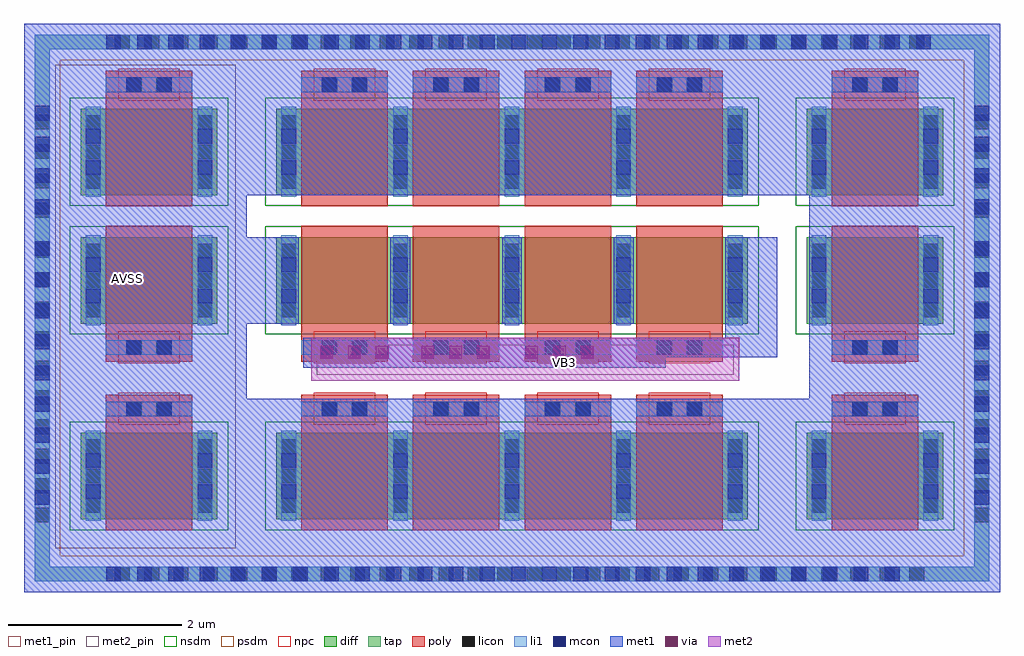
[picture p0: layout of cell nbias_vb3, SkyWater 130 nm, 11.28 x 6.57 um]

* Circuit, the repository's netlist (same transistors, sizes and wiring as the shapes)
** sch_path: /home/lci-ufsc/Desktop/work_sky130/INA_layout_v2/bias/nbias_vb3.sch
.subckt nbias_vb3 AVSS VB3
*.PININFO AVSS:B VB3:B
x1 AVSS AVSS VB3 net1 nfet_2series
x2 net1 AVSS VB3 VB3 nfet_2series
XM1[14] AVSS AVSS AVSS AVSS sky130_fd_pr__nfet_01v8 L=1 W=1 nf=1 m=1
XM1[13] AVSS AVSS AVSS AVSS sky130_fd_pr__nfet_01v8 L=1 W=1 nf=1 m=1
XM1[12] AVSS AVSS AVSS AVSS sky130_fd_pr__nfet_01v8 L=1 W=1 nf=1 m=1
XM1[11] AVSS AVSS AVSS AVSS sky130_fd_pr__nfet_01v8 L=1 W=1 nf=1 m=1
XM1[10] AVSS AVSS AVSS AVSS sky130_fd_pr__nfet_01v8 L=1 W=1 nf=1 m=1
XM1[9] AVSS AVSS AVSS AVSS sky130_fd_pr__nfet_01v8 L=1 W=1 nf=1 m=1
XM1[8] AVSS AVSS AVSS AVSS sky130_fd_pr__nfet_01v8 L=1 W=1 nf=1 m=1
XM1[7] AVSS AVSS AVSS AVSS sky130_fd_pr__nfet_01v8 L=1 W=1 nf=1 m=1
XM1[6] AVSS AVSS AVSS AVSS sky130_fd_pr__nfet_01v8 L=1 W=1 nf=1 m=1
XM1[5] AVSS AVSS AVSS AVSS sky130_fd_pr__nfet_01v8 L=1 W=1 nf=1 m=1
XM1[4] AVSS AVSS AVSS AVSS sky130_fd_pr__nfet_01v8 L=1 W=1 nf=1 m=1
XM1[3] AVSS AVSS AVSS AVSS sky130_fd_pr__nfet_01v8 L=1 W=1 nf=1 m=1
XM1[2] AVSS AVSS AVSS AVSS sky130_fd_pr__nfet_01v8 L=1 W=1 nf=1 m=1
XM1[1] AVSS AVSS AVSS AVSS sky130_fd_pr__nfet_01v8 L=1 W=1 nf=1 m=1
.ends

* expanding   symbol:  INA_layout_v2/bias/nfet_2series.sym # of pins=4
** sym_path: /home/lci-ufsc/Desktop/work_sky130/INA_layout_v2/bias/nfet_2series.sym
** sch_path: /home/lci-ufsc/Desktop/work_sky130/INA_layout_v2/bias/nfet_2series.sch
.subckt nfet_2series S B G D
*.PININFO S:B B:B G:B D:B
XM1 D G net1 B sky130_fd_pr__nfet_01v8 L=1 W=1 nf=1 m=1
XM2 net1 G S B sky130_fd_pr__nfet_01v8 L=1 W=1 nf=1 m=1
.ends

.end

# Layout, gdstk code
import gdstk
lib = gdstk.Library(unit=1e-6, precision=1e-09)
def R(c, l, rs):  # rectangles x0, y0, x1, y1
    for r in rs: c.add(gdstk.rectangle(r[:2], r[2:], *l))
def A(c, l, x, y, w, h, nx, ny, dx, dy):  # array of equal rectangles
    R(c, l, [(x+i*dx, y+j*dy, x+i*dx+w, y+j*dy+h) for i in range(nx) for j in range(ny)])
diff = (65, 20)
tap = (65, 44)
poly = (66, 20)
licon = (66, 44)
li1 = (67, 20)
mcon = (67, 44)
met1_pin = (68, 16)
met1 = (68, 20)
via = (68, 44)
met2_pin = (69, 16)
met2 = (69, 20)
nsdm = (93, 44)
psdm = (94, 20)
npc = (95, 20)

nbias_vb3 = lib.new_cell('nbias_vb3')
A(nbias_vb3, diff, 8.157, -2.922, 1.58, 1, 4, 2, 1.29, 3.745)
R(nbias_vb3, diff, [(5.898,-2.922,7.478,-1.922), (14.286,-2.922,15.866,-1.922), (5.898,-0.662,7.478,0.338), (5.898,-0.662,7.478,0.338), (8.157,-0.662,9.737,0.338), (8.157,-0.662,9.737,0.338), (9.447,-0.662,11.027,0.338), (9.447,-0.662,11.027,0.338), (10.737,-0.662,12.317,0.338), (10.737,-0.662,12.317,0.338), (12.027,-0.662,13.607,0.338), (12.027,-0.662,13.607,0.338), (14.286,-0.662,15.866,0.338), (14.286,-0.662,15.866,0.338), (5.898,0.823,7.478,1.823), (14.286,0.823,15.866,1.823)])
R(nbias_vb3, tap, [(5.368,-3.639,5.538,2.678), (5.368,-3.639,5.537,2.678), (5.368,-3.639,16.396,-3.469), (16.226,-3.639,16.396,2.678), (16.227,-3.639,16.396,2.678), (5.368,2.508,16.396,2.678)])
A(nbias_vb3, poly, 8.447, -3.052, 1, 1.57, 4, 2, 1.29, 3.745)
R(nbias_vb3, poly, [(6.188,-3.052,7.188,-1.482), (14.576,-3.052,15.576,-1.482), (6.188,-1.102,7.188,0.468), (6.188,-1.102,7.188,0.468), (8.447,-1.102,9.447,0.468), (8.447,-1.102,9.447,0.468), (9.737,-1.102,10.737,0.468), (9.737,-1.102,10.737,0.468), (11.027,-1.102,12.027,0.468), (11.027,-1.102,12.027,0.468), (12.317,-1.102,13.317,0.468), (12.317,-1.102,13.317,0.468), (14.576,-1.102,15.576,0.468), (14.576,-1.102,15.576,0.468), (6.188,0.693,7.188,2.263), (14.576,0.693,15.576,2.263)])
A(nbias_vb3, licon, 6.293, -3.639, 0.17, 0.17, 28, 2, 0.34, 6.147)
A(nbias_vb3, licon, 5.368, -2.959, 0.17, 0.17, 1, 10, 0, 0.34)
A(nbias_vb3, licon, 16.226, -2.959, 0.17, 0.17, 1, 10, 0, 0.34)
A(nbias_vb3, licon, 5.958, -2.847, 0.17, 0.17, 1, 3, 0, 0.34)
A(nbias_vb3, licon, 8.217, -2.847, 0.17, 0.17, 1, 3, 0, 0.34)
A(nbias_vb3, licon, 13.377, -2.847, 0.17, 0.17, 1, 3, 0, 0.34)
A(nbias_vb3, licon, 15.636, -2.847, 0.17, 0.17, 1, 3, 0, 0.34)
A(nbias_vb3, licon, 5.368, 0.563, 0.17, 0.17, 1, 4, 0, 0.34)
A(nbias_vb3, licon, 16.226, 0.563, 0.17, 0.17, 1, 4, 0, 0.34)
A(nbias_vb3, licon, 5.958, 0.898, 0.17, 0.17, 1, 3, 0, 0.34)
A(nbias_vb3, licon, 8.217, 0.898, 0.17, 0.17, 1, 3, 0, 0.34)
A(nbias_vb3, licon, 13.377, 0.898, 0.17, 0.17, 1, 3, 0, 0.34)
A(nbias_vb3, licon, 15.636, 0.898, 0.17, 0.17, 1, 3, 0, 0.34)
R(nbias_vb3, licon, [(7.248,-2.847,7.418,-2.677), (7.248,-2.847,7.418,-2.677), (9.507,-2.847,9.677,-2.677), (9.507,-2.847,9.677,-2.677), (10.797,-2.847,10.967,-2.677), (10.797,-2.847,10.967,-2.677), (12.087,-2.847,12.257,-2.677), (12.087,-2.847,12.257,-2.677), (14.346,-2.847,14.516,-2.677), (14.346,-2.847,14.516,-2.677), (7.248,-2.507,7.418,-2.337), (7.248,-2.507,7.418,-2.337), (9.507,-2.507,9.677,-2.337), (9.507,-2.507,9.677,-2.337), (10.797,-2.507,10.967,-2.337), (10.797,-2.507,10.967,-2.337), (12.087,-2.507,12.257,-2.337), (12.087,-2.507,12.257,-2.337), (14.346,-2.507,14.516,-2.337), (14.346,-2.507,14.516,-2.337), (7.248,-2.167,7.418,-1.997), (7.248,-2.167,7.418,-1.997), (9.507,-2.167,9.677,-1.997), (9.507,-2.167,9.677,-1.997), (10.797,-2.167,10.967,-1.997), (10.797,-2.167,10.967,-1.997), (12.087,-2.167,12.257,-1.997), (12.087,-2.167,12.257,-1.997), (14.346,-2.167,14.516,-1.997), (14.346,-2.167,14.516,-1.997), (6.433,-1.732,6.603,-1.562), (6.773,-1.732,6.943,-1.562), (8.692,-1.732,8.862,-1.562), (9.032,-1.732,9.202,-1.562), (9.982,-1.732,10.152,-1.562), (10.322,-1.732,10.492,-1.562), (11.272,-1.732,11.442,-1.562), (11.612,-1.732,11.782,-1.562), (12.562,-1.732,12.732,-1.562), (12.902,-1.732,13.072,-1.562), (14.821,-1.732,14.991,-1.562), (15.161,-1.732,15.331,-1.562), (6.433,-1.022,6.603,-0.852), (6.433,-1.022,6.603,-0.852), (6.773,-1.022,6.943,-0.852), (6.773,-1.022,6.943,-0.852), (8.692,-1.022,8.862,-0.852), (8.692,-1.022,8.862,-0.852), (9.032,-1.022,9.202,-0.852), (9.032,-1.022,9.202,-0.852), (9.982,-1.022,10.152,-0.852), (9.982,-1.022,10.152,-0.852), (10.322,-1.022,10.492,-0.852), (10.322,-1.022,10.492,-0.852), (11.272,-1.022,11.442,-0.852), (11.272,-1.022,11.442,-0.852), (11.612,-1.022,11.782,-0.852), (11.612,-1.022,11.782,-0.852), (12.562,-1.022,12.732,-0.852), (12.562,-1.022,12.732,-0.852), (12.902,-1.022,13.072,-0.852), (12.902,-1.022,13.072,-0.852), (14.821,-1.022,14.991,-0.852), (14.821,-1.022,14.991,-0.852), (15.161,-1.022,15.331,-0.852), (15.161,-1.022,15.331,-0.852), (5.958,-0.587,6.128,-0.417), (5.958,-0.587,6.128,-0.417), (7.248,-0.587,7.418,-0.417), (7.248,-0.587,7.418,-0.417), (7.248,-0.587,7.418,-0.417), (7.248,-0.587,7.418,-0.417), (8.217,-0.587,8.387,-0.417), (8.217,-0.587,8.387,-0.417), (9.507,-0.587,9.677,-0.417), (9.507,-0.587,9.677,-0.417), (9.507,-0.587,9.677,-0.417), (9.507,-0.587,9.677,-0.417), (10.797,-0.587,10.967,-0.417), (10.797,-0.587,10.967,-0.417), (10.797,-0.587,10.967,-0.417), (10.797,-0.587,10.967,-0.417), (12.087,-0.587,12.257,-0.417), (12.087,-0.587,12.257,-0.417), (12.087,-0.587,12.257,-0.417), (12.087,-0.587,12.257,-0.417), (13.377,-0.587,13.547,-0.417), (13.377,-0.587,13.547,-0.417), (14.346,-0.587,14.516,-0.417), (14.346,-0.587,14.516,-0.417), (14.346,-0.587,14.516,-0.417), (14.346,-0.587,14.516,-0.417), (15.636,-0.587,15.806,-0.417), (15.636,-0.587,15.806,-0.417), (5.958,-0.247,6.128,-0.077), (5.958,-0.247,6.128,-0.077), (7.248,-0.247,7.418,-0.077), (7.248,-0.247,7.418,-0.077), (7.248,-0.247,7.418,-0.077), (7.248,-0.247,7.418,-0.077), (8.217,-0.247,8.387,-0.077), (8.217,-0.247,8.387,-0.077), (9.507,-0.247,9.677,-0.077), (9.507,-0.247,9.677,-0.077), (9.507,-0.247,9.677,-0.077), (9.507,-0.247,9.677,-0.077), (10.797,-0.247,10.967,-0.077), (10.797,-0.247,10.967,-0.077), (10.797,-0.247,10.967,-0.077), (10.797,-0.247,10.967,-0.077), (12.087,-0.247,12.257,-0.077), (12.087,-0.247,12.257,-0.077), (12.087,-0.247,12.257,-0.077), (12.087,-0.247,12.257,-0.077), (13.377,-0.247,13.547,-0.077), (13.377,-0.247,13.547,-0.077), (14.346,-0.247,14.516,-0.077), (14.346,-0.247,14.516,-0.077), (14.346,-0.247,14.516,-0.077), (14.346,-0.247,14.516,-0.077), (15.636,-0.247,15.806,-0.077), (15.636,-0.247,15.806,-0.077), (5.958,0.093,6.128,0.263), (5.958,0.093,6.128,0.263), (7.248,0.093,7.418,0.263), (7.248,0.093,7.418,0.263), (7.248,0.093,7.418,0.263), (7.248,0.093,7.418,0.263), (8.217,0.093,8.387,0.263), (8.217,0.093,8.387,0.263), (9.507,0.093,9.677,0.263), (9.507,0.093,9.677,0.263), (9.507,0.093,9.677,0.263), (9.507,0.093,9.677,0.263), (10.797,0.093,10.967,0.263), (10.797,0.093,10.967,0.263), (10.797,0.093,10.967,0.263), (10.797,0.093,10.967,0.263), (12.087,0.093,12.257,0.263), (12.087,0.093,12.257,0.263), (12.087,0.093,12.257,0.263), (12.087,0.093,12.257,0.263), (13.377,0.093,13.547,0.263), (13.377,0.093,13.547,0.263), (14.346,0.093,14.516,0.263), (14.346,0.093,14.516,0.263), (14.346,0.093,14.516,0.263), (14.346,0.093,14.516,0.263), (15.636,0.093,15.806,0.263), (15.636,0.093,15.806,0.263), (7.248,0.898,7.418,1.068), (7.248,0.898,7.418,1.068), (9.507,0.898,9.677,1.068), (9.507,0.898,9.677,1.068), (10.797,0.898,10.967,1.068), (10.797,0.898,10.967,1.068), (12.087,0.898,12.257,1.068), (12.087,0.898,12.257,1.068), (14.346,0.898,14.516,1.068), (14.346,0.898,14.516,1.068), (7.248,1.238,7.418,1.408), (7.248,1.238,7.418,1.408), (9.507,1.238,9.677,1.408), (9.507,1.238,9.677,1.408), (10.797,1.238,10.967,1.408), (10.797,1.238,10.967,1.408), (12.087,1.238,12.257,1.408), (12.087,1.238,12.257,1.408), (14.346,1.238,14.516,1.408), (14.346,1.238,14.516,1.408), (7.248,1.578,7.418,1.748), (7.248,1.578,7.418,1.748), (9.507,1.578,9.677,1.748), (9.507,1.578,9.677,1.748), (10.797,1.578,10.967,1.748), (10.797,1.578,10.967,1.748), (12.087,1.578,12.257,1.748), (12.087,1.578,12.257,1.748), (14.346,1.578,14.516,1.748), (14.346,1.578,14.516,1.748), (6.433,2.013,6.603,2.183), (6.773,2.013,6.943,2.183), (8.692,2.013,8.862,2.183), (9.032,2.013,9.202,2.183), (9.982,2.013,10.152,2.183), (10.322,2.013,10.492,2.183), (11.272,2.013,11.442,2.183), (11.612,2.013,11.782,2.183), (12.562,2.013,12.732,2.183), (12.902,2.013,13.072,2.183), (14.821,2.013,14.991,2.183), (15.161,2.013,15.331,2.183)])
A(nbias_vb3, li1, 8.447, -1.732, 1, 0.17, 4, 2, 1.29, 3.745)
R(nbias_vb3, li1, [(5.368,-3.639,5.538,2.678), (5.368,-3.639,16.396,-3.469), (16.226,-3.639,16.396,2.678), (5.958,-2.942,6.128,-1.902), (7.248,-2.942,7.418,-1.902), (7.248,-2.942,7.418,-1.902), (8.217,-2.942,8.387,-1.902), (9.507,-2.942,9.677,-1.902), (9.507,-2.942,9.677,-1.902), (10.797,-2.942,10.967,-1.902), (10.797,-2.942,10.967,-1.902), (12.087,-2.942,12.257,-1.902), (12.087,-2.942,12.257,-1.902), (13.377,-2.942,13.547,-1.902), (14.346,-2.942,14.516,-1.902), (14.346,-2.942,14.516,-1.902), (15.636,-2.942,15.806,-1.902), (6.188,-1.732,7.188,-1.562), (14.576,-1.732,15.576,-1.562), (6.188,-1.022,7.188,-0.852), (6.188,-1.022,7.188,-0.852), (8.447,-1.022,9.447,-0.852), (8.447,-1.022,9.447,-0.852), (9.737,-1.022,10.737,-0.852), (9.737,-1.022,10.737,-0.852), (11.027,-1.022,12.027,-0.852), (11.027,-1.022,12.027,-0.852), (12.317,-1.022,13.317,-0.852), (12.317,-1.022,13.317,-0.852), (14.576,-1.022,15.576,-0.852), (14.576,-1.022,15.576,-0.852), (5.958,-0.682,6.128,0.358), (5.958,-0.682,6.128,0.358), (7.248,-0.682,7.418,0.358), (7.248,-0.682,7.418,0.358), (7.248,-0.682,7.418,0.358), (7.248,-0.682,7.418,0.358), (8.217,-0.682,8.387,0.358), (8.217,-0.682,8.387,0.358), (9.507,-0.682,9.677,0.358), (9.507,-0.682,9.677,0.358), (9.507,-0.682,9.677,0.358), (9.507,-0.682,9.677,0.358), (10.797,-0.682,10.967,0.358), (10.797,-0.682,10.967,0.358), (10.797,-0.682,10.967,0.358), (10.797,-0.682,10.967,0.358), (12.087,-0.682,12.257,0.358), (12.087,-0.682,12.257,0.358), (12.087,-0.682,12.257,0.358), (12.087,-0.682,12.257,0.358), (13.377,-0.682,13.547,0.358), (13.377,-0.682,13.547,0.358), (14.346,-0.682,14.516,0.358), (14.346,-0.682,14.516,0.358), (14.346,-0.682,14.516,0.358), (14.346,-0.682,14.516,0.358), (15.636,-0.682,15.806,0.358), (15.636,-0.682,15.806,0.358), (5.958,0.803,6.128,1.843), (7.248,0.803,7.418,1.843), (7.248,0.803,7.418,1.843), (8.217,0.803,8.387,1.843), (9.507,0.803,9.677,1.843), (9.507,0.803,9.677,1.843), (10.797,0.803,10.967,1.843), (10.797,0.803,10.967,1.843), (12.087,0.803,12.257,1.843), (12.087,0.803,12.257,1.843), (13.377,0.803,13.547,1.843), (14.346,0.803,14.516,1.843), (14.346,0.803,14.516,1.843), (15.636,0.803,15.806,1.843), (6.188,2.013,7.188,2.183), (14.576,2.013,15.576,2.183), (5.368,2.508,16.396,2.678)])
R(nbias_vb3, mcon, [(6.191,-3.639,6.361,-3.469), (6.191,-3.639,6.361,-3.469), (6.551,-3.639,6.721,-3.469), (6.551,-3.639,6.721,-3.469), (6.911,-3.639,7.081,-3.469), (6.911,-3.639,7.081,-3.469), (7.271,-3.639,7.441,-3.469), (7.271,-3.639,7.441,-3.469), (7.631,-3.639,7.801,-3.469), (7.631,-3.639,7.801,-3.469), (7.991,-3.639,8.161,-3.469), (7.991,-3.639,8.161,-3.469), (8.351,-3.639,8.521,-3.469), (8.351,-3.639,8.521,-3.469), (8.711,-3.639,8.881,-3.469), (8.711,-3.639,8.881,-3.469), (9.071,-3.639,9.241,-3.469), (9.071,-3.639,9.241,-3.469), (9.431,-3.639,9.601,-3.469), (9.431,-3.639,9.601,-3.469), (9.791,-3.639,9.961,-3.469), (9.791,-3.639,9.961,-3.469), (10.151,-3.639,10.321,-3.469), (10.151,-3.639,10.321,-3.469), (10.511,-3.639,10.681,-3.469), (10.511,-3.639,10.681,-3.469), (10.871,-3.639,11.041,-3.469), (10.871,-3.639,11.041,-3.469), (10.871,-3.639,11.041,-3.469), (11.231,-3.639,11.401,-3.469), (11.231,-3.639,11.401,-3.469), (11.591,-3.639,11.761,-3.469), (11.591,-3.639,11.761,-3.469), (11.951,-3.639,12.121,-3.469), (11.951,-3.639,12.121,-3.469), (12.311,-3.639,12.481,-3.469), (12.311,-3.639,12.481,-3.469), (12.671,-3.639,12.841,-3.469), (12.671,-3.639,12.841,-3.469), (13.031,-3.639,13.201,-3.469), (13.031,-3.639,13.201,-3.469), (13.391,-3.639,13.561,-3.469), (13.391,-3.639,13.561,-3.469), (13.751,-3.639,13.921,-3.469), (13.751,-3.639,13.921,-3.469), (14.111,-3.639,14.281,-3.469), (14.111,-3.639,14.281,-3.469), (14.471,-3.639,14.641,-3.469), (14.471,-3.639,14.641,-3.469), (14.831,-3.639,15.001,-3.469), (14.831,-3.639,15.001,-3.469), (15.191,-3.639,15.361,-3.469), (15.191,-3.639,15.361,-3.469), (5.368,-2.757,5.538,-2.587), (5.368,-2.757,5.538,-2.587), (16.226,-2.757,16.396,-2.587), (16.226,-2.757,16.396,-2.587), (5.958,-2.687,6.128,-2.517), (7.248,-2.687,7.418,-2.517), (7.248,-2.687,7.418,-2.517), (8.217,-2.687,8.387,-2.517), (9.507,-2.687,9.677,-2.517), (9.507,-2.687,9.677,-2.517), (10.797,-2.687,10.967,-2.517), (10.797,-2.687,10.967,-2.517), (12.087,-2.687,12.257,-2.517), (12.087,-2.687,12.257,-2.517), (13.377,-2.687,13.547,-2.517), (14.346,-2.687,14.516,-2.517), (14.346,-2.687,14.516,-2.517), (15.636,-2.687,15.806,-2.517), (5.368,-2.397,5.538,-2.227), (5.368,-2.397,5.538,-2.227), (16.226,-2.397,16.396,-2.227), (16.226,-2.397,16.396,-2.227), (5.958,-2.327,6.128,-2.157), (7.248,-2.327,7.418,-2.157), (7.248,-2.327,7.418,-2.157), (8.217,-2.327,8.387,-2.157), (9.507,-2.327,9.677,-2.157), (9.507,-2.327,9.677,-2.157), (10.797,-2.327,10.967,-2.157), (10.797,-2.327,10.967,-2.157), (12.087,-2.327,12.257,-2.157), (12.087,-2.327,12.257,-2.157), (13.377,-2.327,13.547,-2.157), (14.346,-2.327,14.516,-2.157), (14.346,-2.327,14.516,-2.157), (15.636,-2.327,15.806,-2.157), (5.368,-2.037,5.538,-1.867), (5.368,-2.037,5.538,-1.867), (16.226,-2.037,16.396,-1.867), (16.226,-2.037,16.396,-1.867), (6.423,-1.732,6.593,-1.562), (6.783,-1.732,6.953,-1.562), (8.682,-1.732,8.852,-1.562), (9.042,-1.732,9.212,-1.562), (9.972,-1.732,10.142,-1.562), (10.332,-1.732,10.502,-1.562), (11.262,-1.732,11.432,-1.562), (11.622,-1.732,11.792,-1.562), (12.552,-1.732,12.722,-1.562), (12.912,-1.732,13.082,-1.562), (14.811,-1.732,14.981,-1.562), (15.171,-1.732,15.341,-1.562), (5.368,-1.677,5.538,-1.507), (5.368,-1.677,5.538,-1.507), (16.226,-1.677,16.396,-1.507), (16.226,-1.677,16.396,-1.507), (5.368,-1.317,5.538,-1.147), (5.368,-1.317,5.538,-1.147), (16.226,-1.317,16.396,-1.147), (16.226,-1.317,16.396,-1.147), (6.423,-1.022,6.593,-0.852), (6.423,-1.022,6.593,-0.852), (6.783,-1.022,6.953,-0.852), (6.783,-1.022,6.953,-0.852), (8.682,-1.022,8.852,-0.852), (8.682,-1.022,8.852,-0.852), (9.042,-1.022,9.212,-0.852), (9.042,-1.022,9.212,-0.852), (9.972,-1.022,10.142,-0.852), (9.972,-1.022,10.142,-0.852), (10.332,-1.022,10.502,-0.852), (10.332,-1.022,10.502,-0.852), (11.262,-1.022,11.432,-0.852), (11.262,-1.022,11.432,-0.852), (11.622,-1.022,11.792,-0.852), (11.622,-1.022,11.792,-0.852), (12.552,-1.022,12.722,-0.852), (12.552,-1.022,12.722,-0.852), (12.912,-1.022,13.082,-0.852), (12.912,-1.022,13.082,-0.852), (14.811,-1.022,14.981,-0.852), (14.811,-1.022,14.981,-0.852), (15.171,-1.022,15.341,-0.852), (15.171,-1.022,15.341,-0.852), (5.368,-0.957,5.538,-0.787), (5.368,-0.957,5.538,-0.787), (16.226,-0.957,16.396,-0.787), (16.226,-0.957,16.396,-0.787), (5.368,-0.597,5.538,-0.427), (5.368,-0.597,5.538,-0.427), (16.226,-0.597,16.396,-0.427), (16.226,-0.597,16.396,-0.427), (5.958,-0.427,6.128,-0.257), (5.958,-0.427,6.128,-0.257), (7.248,-0.427,7.418,-0.257), (7.248,-0.427,7.418,-0.257), (7.248,-0.427,7.418,-0.257), (7.248,-0.427,7.418,-0.257), (8.217,-0.427,8.387,-0.257), (8.217,-0.427,8.387,-0.257), (9.507,-0.427,9.677,-0.257), (9.507,-0.427,9.677,-0.257), (9.507,-0.427,9.677,-0.257), (9.507,-0.427,9.677,-0.257), (10.797,-0.427,10.967,-0.257), (10.797,-0.427,10.967,-0.257), (10.797,-0.427,10.967,-0.257), (10.797,-0.427,10.967,-0.257), (12.087,-0.427,12.257,-0.257), (12.087,-0.427,12.257,-0.257), (12.087,-0.427,12.257,-0.257), (12.087,-0.427,12.257,-0.257), (13.377,-0.427,13.547,-0.257), (13.377,-0.427,13.547,-0.257), (14.346,-0.427,14.516,-0.257), (14.346,-0.427,14.516,-0.257), (14.346,-0.427,14.516,-0.257), (14.346,-0.427,14.516,-0.257), (15.636,-0.427,15.806,-0.257), (15.636,-0.427,15.806,-0.257), (5.368,-0.237,5.538,-0.067), (5.368,-0.237,5.538,-0.067), (16.226,-0.237,16.396,-0.067), (16.226,-0.237,16.396,-0.067), (5.958,-0.067,6.128,0.103), (5.958,-0.067,6.128,0.103), (7.248,-0.067,7.418,0.103), (7.248,-0.067,7.418,0.103), (7.248,-0.067,7.418,0.103), (7.248,-0.067,7.418,0.103), (8.217,-0.067,8.387,0.103), (8.217,-0.067,8.387,0.103), (9.507,-0.067,9.677,0.103), (9.507,-0.067,9.677,0.103), (9.507,-0.067,9.677,0.103), (9.507,-0.067,9.677,0.103), (10.797,-0.067,10.967,0.103), (10.797,-0.067,10.967,0.103), (10.797,-0.067,10.967,0.103), (10.797,-0.067,10.967,0.103), (12.087,-0.067,12.257,0.103), (12.087,-0.067,12.257,0.103), (12.087,-0.067,12.257,0.103), (12.087,-0.067,12.257,0.103), (13.377,-0.067,13.547,0.103), (13.377,-0.067,13.547,0.103), (14.346,-0.067,14.516,0.103), (14.346,-0.067,14.516,0.103), (14.346,-0.067,14.516,0.103), (14.346,-0.067,14.516,0.103), (15.636,-0.067,15.806,0.103), (15.636,-0.067,15.806,0.103), (5.368,0.123,5.538,0.293), (5.368,0.123,5.538,0.293), (16.226,0.123,16.396,0.293), (16.226,0.123,16.396,0.293), (5.368,0.605,5.538,0.775), (5.368,0.605,5.538,0.775), (16.226,0.605,16.396,0.775), (16.226,0.605,16.396,0.775), (5.368,0.965,5.538,1.135), (5.368,0.965,5.538,1.135), (16.226,0.965,16.396,1.135), (16.226,0.965,16.396,1.135), (5.958,1.058,6.128,1.228), (7.248,1.058,7.418,1.228), (7.248,1.058,7.418,1.228), (8.217,1.058,8.387,1.228), (9.507,1.058,9.677,1.228), (9.507,1.058,9.677,1.228), (10.797,1.058,10.967,1.228), (10.797,1.058,10.967,1.228), (12.087,1.058,12.257,1.228), (12.087,1.058,12.257,1.228), (13.377,1.058,13.547,1.228), (14.346,1.058,14.516,1.228), (14.346,1.058,14.516,1.228), (15.636,1.058,15.806,1.228), (5.368,1.325,5.538,1.495), (5.368,1.325,5.538,1.495), (16.226,1.325,16.396,1.495), (16.226,1.325,16.396,1.495), (5.958,1.418,6.128,1.588), (7.248,1.418,7.418,1.588), (7.248,1.418,7.418,1.588), (8.217,1.418,8.387,1.588), (9.507,1.418,9.677,1.588), (9.507,1.418,9.677,1.588), (10.797,1.418,10.967,1.588), (10.797,1.418,10.967,1.588), (12.087,1.418,12.257,1.588), (12.087,1.418,12.257,1.588), (13.377,1.418,13.547,1.588), (14.346,1.418,14.516,1.588), (14.346,1.418,14.516,1.588), (15.636,1.418,15.806,1.588), (5.368,1.685,5.538,1.855), (5.368,1.685,5.538,1.855), (16.226,1.685,16.396,1.855), (16.226,1.685,16.396,1.855), (6.423,2.013,6.593,2.183), (6.783,2.013,6.953,2.183), (8.682,2.013,8.852,2.183), (9.042,2.013,9.212,2.183), (9.972,2.013,10.142,2.183), (10.332,2.013,10.502,2.183), (11.262,2.013,11.432,2.183), (11.622,2.013,11.792,2.183), (12.552,2.013,12.722,2.183), (12.912,2.013,13.082,2.183), (14.811,2.013,14.981,2.183), (15.171,2.013,15.341,2.183), (6.191,2.508,6.361,2.678), (6.191,2.508,6.361,2.678), (6.551,2.508,6.721,2.678), (6.551,2.508,6.721,2.678), (6.911,2.508,7.081,2.678), (6.911,2.508,7.081,2.678), (7.271,2.508,7.441,2.678), (7.271,2.508,7.441,2.678), (7.631,2.508,7.801,2.678), (7.631,2.508,7.801,2.678), (7.991,2.508,8.161,2.678), (7.991,2.508,8.161,2.678), (8.351,2.508,8.521,2.678), (8.351,2.508,8.521,2.678), (8.711,2.508,8.881,2.678), (8.711,2.508,8.881,2.678), (9.071,2.508,9.241,2.678), (9.071,2.508,9.241,2.678), (9.431,2.508,9.601,2.678), (9.431,2.508,9.601,2.678), (9.791,2.508,9.961,2.678), (9.791,2.508,9.961,2.678), (10.151,2.508,10.321,2.678), (10.151,2.508,10.321,2.678), (10.511,2.508,10.681,2.678), (10.511,2.508,10.681,2.678), (10.871,2.508,11.041,2.678), (10.871,2.508,11.041,2.678), (10.871,2.508,11.041,2.678), (11.231,2.508,11.401,2.678), (11.231,2.508,11.401,2.678), (11.591,2.508,11.761,2.678), (11.591,2.508,11.761,2.678), (11.951,2.508,12.121,2.678), (11.951,2.508,12.121,2.678), (12.311,2.508,12.481,2.678), (12.311,2.508,12.481,2.678), (12.671,2.508,12.841,2.678), (12.671,2.508,12.841,2.678), (13.031,2.508,13.201,2.678), (13.031,2.508,13.201,2.678), (13.391,2.508,13.561,2.678), (13.391,2.508,13.561,2.678), (13.751,2.508,13.921,2.678), (13.751,2.508,13.921,2.678), (14.111,2.508,14.281,2.678), (14.111,2.508,14.281,2.678), (14.471,2.508,14.641,2.678), (14.471,2.508,14.641,2.678), (14.831,2.508,15.001,2.678), (14.831,2.508,15.001,2.678), (15.191,2.508,15.361,2.678), (15.191,2.508,15.361,2.678), (15.551,2.508,15.721,2.678), (15.551,2.508,15.721,2.678)])
R(nbias_vb3, met1_pin, [(5.602,-3.258,7.688,2.331)])
A(nbias_vb3, met1, 8.467, 1.983, 0.96, 0.23, 4, 1, 1.29, 0)
R(nbias_vb3, met1, [(5.243,-3.765,7.448,-1.151), (5.928,-3.765,16.521,-1.922), (5.761,-3.269,7.815,0.967), (5.243,-2.922,7.448,2.803), (5.928,-2.922,6.158,-1.922), (7.218,-2.922,7.448,-1.922), (7.218,-2.922,7.448,-1.922), (8.187,-2.922,8.417,-1.922), (9.477,-2.922,9.707,-1.922), (9.477,-2.922,9.707,-1.922), (10.767,-2.922,10.997,-1.922), (10.767,-2.922,10.997,-1.922), (12.057,-2.922,12.287,-1.922), (12.057,-2.922,12.287,-1.922), (13.347,-2.922,13.577,-1.922), (14.316,-2.922,14.546,-1.922), (14.316,-2.922,14.546,-1.922), (14.316,-2.922,16.521,2.803), (15.606,-2.922,15.836,-1.922), (5.788,-2.289,15.556,-1.532), (6.208,-1.762,7.168,-1.532), (8.467,-1.762,10.717,-1.532), (8.467,-1.762,9.427,-1.532), (8.467,-1.762,9.427,-1.532), (8.467,-1.762,9.427,-1.532), (9.752,-1.762,12.002,-1.532), (9.757,-1.762,10.717,-1.532), (9.757,-1.762,10.717,-1.532), (9.757,-1.762,10.717,-1.532), (11.047,-1.762,13.297,-1.532), (11.047,-1.762,12.007,-1.532), (11.047,-1.762,12.007,-1.532), (11.047,-1.762,12.007,-1.532), (12.337,-1.762,13.297,-1.532), (14.596,-1.762,15.556,-1.532), (8.467,-1.172,11.916,-0.822), (8.565,-1.172,9.545,-0.822), (8.565,-1.172,9.545,-0.822), (8.565,-1.172,9.545,-0.822), (8.565,-1.172,9.545,-0.822), (8.565,-1.172,9.545,-0.822), (8.565,-1.172,9.545,-0.822), (8.565,-1.172,9.545,-0.822), (8.565,-1.172,9.545,-0.822), (8.565,-1.172,9.545,-0.822), (8.565,-1.172,9.545,-0.822), (8.565,-1.172,9.545,-0.822), (8.565,-1.172,9.545,-0.822), (8.565,-1.172,9.545,-0.822), (8.565,-1.172,9.545,-0.822), (8.565,-1.172,9.545,-0.822), (8.565,-1.172,9.545,-0.822), (9.736,-1.172,10.716,-0.822), (9.736,-1.172,10.716,-0.822), (9.736,-1.172,10.716,-0.822), (9.736,-1.172,10.716,-0.822), (9.736,-1.172,10.716,-0.822), (9.736,-1.172,10.716,-0.822), (9.736,-1.172,10.716,-0.822), (9.736,-1.172,10.716,-0.822), (9.736,-1.172,10.716,-0.822), (9.736,-1.172,10.716,-0.822), (9.736,-1.172,10.716,-0.822), (9.736,-1.172,10.716,-0.822), (9.736,-1.172,10.716,-0.822), (9.736,-1.172,10.716,-0.822), (9.736,-1.172,10.716,-0.822), (9.736,-1.172,10.716,-0.822), (10.936,-1.172,11.916,-0.822), (10.936,-1.172,11.916,-0.822), (10.936,-1.172,11.916,-0.822), (10.936,-1.172,11.916,-0.822), (10.936,-1.172,11.916,-0.822), (10.936,-1.172,11.916,-0.822), (10.936,-1.172,11.916,-0.822), (10.936,-1.172,11.916,-0.822), (10.936,-1.172,11.916,-0.822), (10.936,-1.172,11.916,-0.822), (10.936,-1.172,11.916,-0.822), (10.936,-1.172,11.916,-0.822), (10.936,-1.172,11.916,-0.822), (10.936,-1.172,11.916,-0.822), (10.936,-1.172,11.916,-0.822), (10.936,-1.172,11.916,-0.822), (11.731,-1.172,12.659,-0.822), (6.208,-1.052,7.168,-0.822), (6.208,-1.052,7.168,-0.822), (8.467,-1.052,10.717,-0.822), (8.467,-1.052,10.717,-0.822), (8.467,-1.052,12.007,-0.822), (8.467,-1.052,9.427,-0.822), (8.467,-1.052,9.427,-0.822), (8.467,-1.052,9.427,-0.822), (8.467,-1.052,9.427,-0.822), (8.467,-1.052,9.427,-0.822), (8.467,-1.052,9.427,-0.822), (9.752,-1.052,12.002,-0.822), (9.757,-1.052,10.717,-0.822), (9.757,-1.052,10.717,-0.822), (9.757,-1.052,10.717,-0.822), (9.757,-1.052,10.717,-0.822), (9.757,-1.052,10.717,-0.822), (9.757,-1.052,10.717,-0.822), (11.047,-1.052,13.297,-0.822), (11.047,-1.052,13.297,-0.822), (11.047,-1.052,13.297,-0.822), (11.047,-1.052,12.007,-0.822), (11.047,-1.052,12.007,-0.822), (11.047,-1.052,12.007,-0.822), (11.047,-1.052,12.007,-0.822), (11.047,-1.052,12.007,-0.822), (11.047,-1.052,12.007,-0.822), (11.699,-1.052,13.949,-0.822), (11.699,-1.052,12.659,-0.822), (12.337,-1.052,13.297,-0.822), (12.337,-1.052,13.297,-0.822), (13.347,-1.052,13.949,0.199), (14.596,-1.052,15.556,-0.822), (14.596,-1.052,15.556,-0.822), (5.928,-0.662,6.158,0.338), (5.928,-0.662,6.158,0.338), (7.218,-0.662,7.448,0.338), (7.218,-0.662,7.448,0.338), (7.218,-0.662,7.448,0.338), (7.218,-0.662,7.448,0.338), (7.815,-0.662,8.417,0.338), (8.187,-0.662,8.417,0.338), (8.187,-0.662,8.417,0.338), (9.477,-0.662,9.707,0.338), (9.477,-0.662,9.707,0.338), (9.477,-0.662,9.707,0.338), (9.477,-0.662,9.707,0.338), (10.767,-0.662,10.997,0.338), (10.767,-0.662,10.997,0.338), (10.767,-0.662,10.997,0.338), (10.767,-0.662,10.997,0.338), (12.057,-0.662,12.287,0.338), (12.057,-0.662,12.287,0.338), (12.057,-0.662,12.287,0.338), (12.057,-0.662,12.287,0.338), (13.347,-0.662,13.577,0.338), (13.347,-0.662,13.577,0.338), (13.347,-0.662,13.949,0.338), (14.316,-0.662,14.546,0.338), (14.316,-0.662,14.546,0.338), (14.316,-0.662,14.546,0.338), (14.316,-0.662,14.546,0.338), (15.606,-0.662,15.836,0.338), (15.606,-0.662,15.836,0.338), (5.243,0.823,15.836,2.803), (5.928,0.823,6.158,1.823), (7.218,0.823,7.448,1.823), (7.218,0.823,7.448,1.823), (7.218,0.823,7.448,1.823), (7.815,0.823,8.417,1.823), (8.187,0.823,8.417,1.823), (9.477,0.823,9.707,1.823), (9.477,0.823,9.707,1.823), (10.767,0.823,10.997,1.823), (10.767,0.823,10.997,1.823), (12.057,0.823,12.287,1.823), (12.057,0.823,12.287,1.823), (13.347,0.823,13.577,1.823), (14.316,0.823,14.546,1.823), (14.316,0.823,14.546,1.823), (14.316,0.823,14.546,1.823), (15.606,0.823,15.836,1.823), (6.208,1.983,7.168,2.213), (8.467,1.983,10.717,2.213), (9.752,1.983,12.002,2.213), (11.047,1.983,13.297,2.213), (14.596,1.983,15.556,2.213)])
R(nbias_vb3, via, [(8.665,-1.067,8.815,-0.917), (8.665,-1.067,8.815,-0.917), (8.665,-1.067,8.815,-0.917), (8.665,-1.067,8.815,-0.917), (8.665,-1.067,8.815,-0.917), (8.665,-1.067,8.815,-0.917), (8.665,-1.067,8.815,-0.917), (8.665,-1.067,8.815,-0.917), (8.665,-1.067,8.815,-0.917), (8.665,-1.067,8.815,-0.917), (8.665,-1.067,8.815,-0.917), (8.665,-1.067,8.815,-0.917), (8.665,-1.067,8.815,-0.917), (8.665,-1.067,8.815,-0.917), (8.665,-1.067,8.815,-0.917), (8.665,-1.067,8.815,-0.917), (8.985,-1.067,9.135,-0.917), (8.985,-1.067,9.135,-0.917), (8.985,-1.067,9.135,-0.917), (8.985,-1.067,9.135,-0.917), (8.985,-1.067,9.135,-0.917), (8.985,-1.067,9.135,-0.917), (8.985,-1.067,9.135,-0.917), (8.985,-1.067,9.135,-0.917), (8.985,-1.067,9.135,-0.917), (8.985,-1.067,9.135,-0.917), (8.985,-1.067,9.135,-0.917), (8.985,-1.067,9.135,-0.917), (8.985,-1.067,9.135,-0.917), (8.985,-1.067,9.135,-0.917), (8.985,-1.067,9.135,-0.917), (8.985,-1.067,9.135,-0.917), (8.985,-1.067,9.135,-0.917), (8.985,-1.067,9.135,-0.917), (9.305,-1.067,9.455,-0.917), (9.305,-1.067,9.455,-0.917), (9.305,-1.067,9.455,-0.917), (9.305,-1.067,9.455,-0.917), (9.305,-1.067,9.455,-0.917), (9.305,-1.067,9.455,-0.917), (9.305,-1.067,9.455,-0.917), (9.305,-1.067,9.455,-0.917), (9.305,-1.067,9.455,-0.917), (9.305,-1.067,9.455,-0.917), (9.305,-1.067,9.455,-0.917), (9.305,-1.067,9.455,-0.917), (9.305,-1.067,9.455,-0.917), (9.305,-1.067,9.455,-0.917), (9.305,-1.067,9.455,-0.917), (9.305,-1.067,9.455,-0.917), (9.836,-1.067,9.986,-0.917), (9.836,-1.067,9.986,-0.917), (9.836,-1.067,9.986,-0.917), (9.836,-1.067,9.986,-0.917), (9.836,-1.067,9.986,-0.917), (9.836,-1.067,9.986,-0.917), (9.836,-1.067,9.986,-0.917), (9.836,-1.067,9.986,-0.917), (9.836,-1.067,9.986,-0.917), (9.836,-1.067,9.986,-0.917), (9.836,-1.067,9.986,-0.917), (9.836,-1.067,9.986,-0.917), (9.836,-1.067,9.986,-0.917), (9.836,-1.067,9.986,-0.917), (9.836,-1.067,9.986,-0.917), (9.836,-1.067,9.986,-0.917), (10.156,-1.067,10.306,-0.917), (10.156,-1.067,10.306,-0.917), (10.156,-1.067,10.306,-0.917), (10.156,-1.067,10.306,-0.917), (10.156,-1.067,10.306,-0.917), (10.156,-1.067,10.306,-0.917), (10.156,-1.067,10.306,-0.917), (10.156,-1.067,10.306,-0.917), (10.156,-1.067,10.306,-0.917), (10.156,-1.067,10.306,-0.917), (10.156,-1.067,10.306,-0.917), (10.156,-1.067,10.306,-0.917), (10.156,-1.067,10.306,-0.917), (10.156,-1.067,10.306,-0.917), (10.156,-1.067,10.306,-0.917), (10.156,-1.067,10.306,-0.917), (10.156,-1.067,10.306,-0.917), (10.156,-1.067,10.306,-0.917), (10.476,-1.067,10.626,-0.917), (10.476,-1.067,10.626,-0.917), (10.476,-1.067,10.626,-0.917), (10.476,-1.067,10.626,-0.917), (10.476,-1.067,10.626,-0.917), (10.476,-1.067,10.626,-0.917), (10.476,-1.067,10.626,-0.917), (10.476,-1.067,10.626,-0.917), (10.476,-1.067,10.626,-0.917), (10.476,-1.067,10.626,-0.917), (10.476,-1.067,10.626,-0.917), (10.476,-1.067,10.626,-0.917), (10.476,-1.067,10.626,-0.917), (10.476,-1.067,10.626,-0.917), (10.476,-1.067,10.626,-0.917), (10.476,-1.067,10.626,-0.917), (11.036,-1.067,11.186,-0.917), (11.036,-1.067,11.186,-0.917), (11.036,-1.067,11.186,-0.917), (11.036,-1.067,11.186,-0.917), (11.036,-1.067,11.186,-0.917), (11.036,-1.067,11.186,-0.917), (11.036,-1.067,11.186,-0.917), (11.036,-1.067,11.186,-0.917), (11.036,-1.067,11.186,-0.917), (11.036,-1.067,11.186,-0.917), (11.036,-1.067,11.186,-0.917), (11.036,-1.067,11.186,-0.917), (11.036,-1.067,11.186,-0.917), (11.036,-1.067,11.186,-0.917), (11.036,-1.067,11.186,-0.917), (11.036,-1.067,11.186,-0.917), (11.356,-1.067,11.506,-0.917), (11.356,-1.067,11.506,-0.917), (11.356,-1.067,11.506,-0.917), (11.356,-1.067,11.506,-0.917), (11.356,-1.067,11.506,-0.917), (11.356,-1.067,11.506,-0.917), (11.356,-1.067,11.506,-0.917), (11.356,-1.067,11.506,-0.917), (11.356,-1.067,11.506,-0.917), (11.356,-1.067,11.506,-0.917), (11.356,-1.067,11.506,-0.917), (11.356,-1.067,11.506,-0.917), (11.356,-1.067,11.506,-0.917), (11.356,-1.067,11.506,-0.917), (11.356,-1.067,11.506,-0.917), (11.356,-1.067,11.506,-0.917), (11.356,-1.067,11.506,-0.917), (11.356,-1.067,11.506,-0.917), (11.676,-1.067,11.826,-0.917), (11.676,-1.067,11.826,-0.917), (11.676,-1.067,11.826,-0.917), (11.676,-1.067,11.826,-0.917), (11.676,-1.067,11.826,-0.917), (11.676,-1.067,11.826,-0.917), (11.676,-1.067,11.826,-0.917), (11.676,-1.067,11.826,-0.917), (11.676,-1.067,11.826,-0.917), (11.676,-1.067,11.826,-0.917), (11.676,-1.067,11.826,-0.917), (11.676,-1.067,11.826,-0.917), (11.676,-1.067,11.826,-0.917), (11.676,-1.067,11.826,-0.917), (11.676,-1.067,11.826,-0.917), (11.676,-1.067,11.826,-0.917)])
R(nbias_vb3, met2_pin, [(8.624,-1.253,13.444,-0.903)])
R(nbias_vb3, met2, [(8.565,-1.323,13.509,-0.822), (12.009,-1.322,13.509,-0.822), (12.009,-1.322,13.509,-0.822), (12.009,-1.322,13.509,-0.822), (12.009,-1.322,13.509,-0.822), (8.565,-1.172,9.545,-0.822), (8.565,-1.172,9.545,-0.822), (8.565,-1.172,9.545,-0.822), (8.565,-1.172,9.545,-0.822), (8.565,-1.172,9.545,-0.822), (8.565,-1.172,9.545,-0.822), (8.565,-1.172,9.545,-0.822), (8.565,-1.172,9.545,-0.822), (8.565,-1.172,9.545,-0.822), (8.565,-1.172,9.545,-0.822), (8.565,-1.172,9.545,-0.822), (8.565,-1.172,9.545,-0.822), (8.565,-1.172,9.545,-0.822), (8.565,-1.172,9.545,-0.822), (8.565,-1.172,9.545,-0.822), (8.565,-1.172,9.545,-0.822), (9.736,-1.172,10.716,-0.822), (9.736,-1.172,10.716,-0.822), (9.736,-1.172,10.716,-0.822), (9.736,-1.172,10.716,-0.822), (9.736,-1.172,10.716,-0.822), (9.736,-1.172,10.716,-0.822), (9.736,-1.172,10.716,-0.822), (9.736,-1.172,10.716,-0.822), (9.736,-1.172,10.716,-0.822), (9.736,-1.172,10.716,-0.822), (9.736,-1.172,10.716,-0.822), (9.736,-1.172,10.716,-0.822), (9.736,-1.172,10.716,-0.822), (9.736,-1.172,10.716,-0.822), (9.736,-1.172,10.716,-0.822), (9.736,-1.172,10.716,-0.822), (10.936,-1.172,11.916,-0.822), (10.936,-1.172,11.916,-0.822), (10.936,-1.172,11.916,-0.822), (10.936,-1.172,11.916,-0.822), (10.936,-1.172,11.916,-0.822), (10.936,-1.172,11.916,-0.822), (10.936,-1.172,11.916,-0.822), (10.936,-1.172,11.916,-0.822), (10.936,-1.172,11.916,-0.822), (10.936,-1.172,11.916,-0.822), (10.936,-1.172,11.916,-0.822), (10.936,-1.172,11.916,-0.822), (10.936,-1.172,11.916,-0.822), (10.936,-1.172,11.916,-0.822), (10.936,-1.172,11.916,-0.822), (10.936,-1.172,11.916,-0.822)])
A(nbias_vb3, nsdm, 8.032, -3.047, 1.83, 1.25, 4, 2, 1.29, 3.745)
R(nbias_vb3, nsdm, [(5.773,-3.047,7.603,-1.797), (14.161,-3.047,15.991,-1.797), (5.773,-0.787,7.603,0.463), (5.773,-0.787,7.603,0.463), (8.032,-0.787,9.862,0.463), (8.032,-0.787,9.862,0.463), (9.322,-0.787,11.152,0.463), (9.322,-0.787,11.152,0.463), (10.612,-0.787,12.442,0.463), (10.612,-0.787,12.442,0.463), (11.902,-0.787,13.732,0.463), (11.902,-0.787,13.732,0.463), (14.161,-0.787,15.991,0.463), (14.161,-0.787,15.991,0.463), (5.773,0.698,7.603,1.948), (14.161,0.698,15.991,1.948)])
R(nbias_vb3, psdm, [(5.243,-3.765,5.664,2.803), (5.243,-3.765,16.521,-3.344), (16.1,-3.765,16.521,2.803), (5.243,2.382,16.521,2.803)])
A(nbias_vb3, npc, 8.592, -1.832, 0.71, 0.37, 4, 2, 1.29, 3.745)
R(nbias_vb3, npc, [(6.333,-1.832,7.043,-1.462), (14.721,-1.832,15.431,-1.462), (6.333,-1.122,7.043,-0.752), (6.333,-1.122,7.043,-0.752), (8.592,-1.122,9.302,-0.752), (8.592,-1.122,9.302,-0.752), (9.882,-1.122,10.592,-0.752), (9.882,-1.122,10.592,-0.752), (11.172,-1.122,11.882,-0.752), (11.172,-1.122,11.882,-0.752), (12.462,-1.122,13.172,-0.752), (12.462,-1.122,13.172,-0.752), (14.721,-1.122,15.431,-0.752), (14.721,-1.122,15.431,-0.752), (6.333,1.913,7.043,2.283), (14.721,1.913,15.431,2.283)])
nbias_vb3.add(gdstk.Label('VB3', (11.486,-1.114), layer=69, texttype=5))
nbias_vb3.add(gdstk.Label('AVSS', (6.439,-0.142), layer=68, texttype=5))

lib.write_gds('nbias_vb3.gds')
